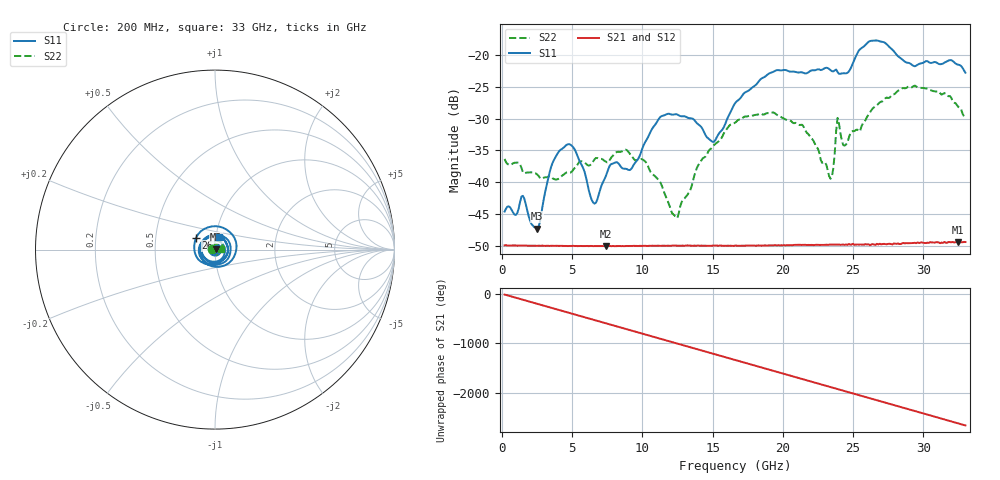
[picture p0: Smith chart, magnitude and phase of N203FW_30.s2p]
# GHZ S RI R 50
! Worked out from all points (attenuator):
!   329 points, 200 MHz to 33 GHz, reference 50 ohm
!   highest |S21| = -49.41 dB at 32.5 GHz (marker M1); lowest = -50.1 dB at 7.4 GHz (marker M2)
!   lowest |S11| = -47.3 dB at 2.5 GHz (marker M3), VSWR 1.01, Z = 50.4 + j0.231 ohm
!   |S11| at or under -10 dB: start of sweep to end of sweep
!   |S22| runs from -45.6 to -24.8 dB; largest |S21 - S12| = 8.8e-05
!   S11 on the Smith chart (normalised r, x): 200 MHz: 1.01, +0.00; 26 GHz: 0.80, +0.11; 33 GHz: 1.03, +0.14
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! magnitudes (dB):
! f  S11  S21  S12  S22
! 200 MHz  -44.6  -50.0  -49.9  -36.3
! 1.5 GHz  -42.2  -50.0  -50.0  -38.4
! 2.5 GHz  -47.3  -50.0  -50.0  -38.8
! 4 GHz  -35.4  -50.0  -50.0  -39.5
! 5.7 GHz  -37.4  -50.1  -50.0  -36.7
! 6.6 GHz  -43.4  -50.1  -50.1  -36.4
! 7.4 GHz  -39.1  -50.1  -50.0  -36.8
! 9.2 GHz  -38.0  -50.1  -50.0  -35.7
! 11.2 GHz  -30.0  -50.0  -50.0  -39.7
! 12.5 GHz  -29.4  -50.0  -50.0  -45.6
! 15.1 GHz  -33.6  -50.0  -50.0  -34.2
! 16.6 GHz  -27.6  -50.0  -50.0  -30.6
! 19.3 GHz  -22.7  -49.9  -49.9  -29.0
! 22.1 GHz  -22.4  -49.9  -49.9  -33.2
! 23.4 GHz  -22.4  -49.8  -49.8  -39.5
! 23.9 GHz  -22.6  -49.9  -49.9  -29.9
! 24.4 GHz  -22.9  -49.9  -49.8  -34.2
! 26 GHz  -18.1  -49.8  -49.8  -29.7
! 27.6 GHz  -18.7  -49.7  -49.7  -26.7
! 29.4 GHz  -21.8  -49.6  -49.6  -24.8
! 32.5 GHz  -21.5  -49.4  -49.4  -28.2
! 33 GHz  -22.8  -49.4  -49.5  -29.7
